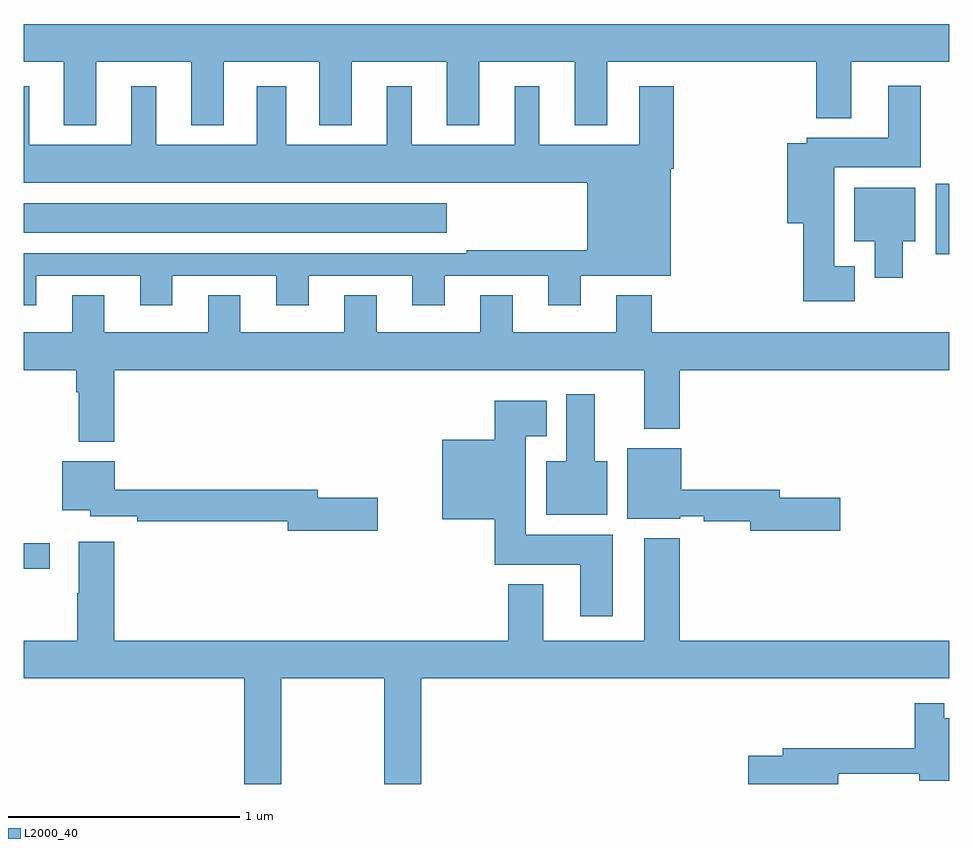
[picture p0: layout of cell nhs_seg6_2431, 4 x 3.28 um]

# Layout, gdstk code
import gdstk
lib = gdstk.Library(unit=1e-6, precision=1e-09)
def R(c, l, rs):  # rectangles x0, y0, x1, y1
    for r in rs: c.add(gdstk.rectangle(r[:2], r[2:], *l))
def P(c, l, *ps):  # polygons
    for p in ps: c.add(gdstk.Polygon(p, *l))
L2000_40 = (2000, 40)

nhs_seg6_2431 = lib.new_cell('nhs_seg6_2431')
R(nhs_seg6_2431, L2000_40, [(255,994.431,255.112,994.541), (258.941,995.789,259,996.094), (255,995.882,256.828,996.01)])
P(nhs_seg6_2431, L2000_40, [(255.313,996.62),(255.725,996.62),(255.725,996.347),(255.865,996.347),(255.865,996.62),(256.277,996.62),(256.277,996.347),(256.417,996.347),(256.417,996.62),(256.829,996.62),(256.829,996.347),(256.969,996.347),(256.969,996.62),(257.381,996.62),(257.381,996.347),(257.521,996.347),(257.521,996.62),(258.425,996.62),(258.425,996.377),(258.577,996.377),(258.577,996.62),(259,996.62),(259,996.784),(255,996.784),(255,996.62),(255.173,996.62),(255.173,996.347),(255.313,996.347)],
  [(258.592,995.737),(258.502,995.737),(258.502,996.164),(258.877,996.164),(258.877,996.517),(258.737,996.517),(258.737,996.292),(258.384,996.292),(258.384,996.268),(258.299,996.268),(258.299,995.924),(258.368,995.924),(258.368,995.585),(258.592,995.585)],
  [(255.055,995.697),(255.503,995.697),(255.503,995.568),(255.643,995.568),(255.643,995.697),(256.091,995.697),(256.091,995.568),(256.231,995.568),(256.231,995.697),(256.679,995.697),(256.679,995.568),(256.819,995.568),(256.819,995.697),(257.267,995.697),(257.267,995.568),(257.407,995.568),(257.407,995.696),(257.797,995.696),(257.797,996.158),(257.81,996.158),(257.81,996.514),(257.66,996.514),(257.66,996.262),(257.227,996.262),(257.227,996.514),(257.123,996.514),(257.123,996.262),(256.678,996.262),(256.678,996.514),(256.568,996.514),(256.568,996.262),(256.135,996.262),(256.135,996.514),(256.007,996.514),(256.007,996.262),(255.574,996.262),(255.574,996.514),(255.464,996.514),(255.464,996.262),(255.025,996.262),(255.025,996.514),(255,996.514),(255,996.098),(257.435,996.098),(257.435,995.806),(256.915,995.806),(256.915,995.793),(255,995.793),(255,995.568),(255.055,995.568)],
  [(258.799,995.846),(258.853,995.846),(258.853,996.076),(258.59,996.076),(258.59,995.846),(258.677,995.846),(258.677,995.688),(258.799,995.688)],
  [(255.392,995.288),(257.681,995.288),(257.681,995.036),(257.834,995.036),(257.834,995.288),(259,995.288),(259,995.452),(257.714,995.452),(257.714,995.611),(257.561,995.611),(257.561,995.452),(257.113,995.452),(257.113,995.612),(256.973,995.612),(256.973,995.452),(256.525,995.452),(256.525,995.612),(256.385,995.612),(256.385,995.452),(255.937,995.452),(255.937,995.612),(255.797,995.612),(255.797,995.452),(255.349,995.452),(255.349,995.612),(255.209,995.612),(255.209,995.452),(255,995.452),(255,995.288),(255.227,995.288),(255.227,995.192),(255.239,995.192),(255.239,994.979),(255.392,994.979)],
  [(257.521,994.894),(257.467,994.894),(257.467,995.185),(257.345,995.185),(257.345,994.894),(257.258,994.894),(257.258,994.664),(257.521,994.664)],
  [(257.545,994.576),(257.17,994.576),(257.17,995.003),(257.26,995.003),(257.26,995.155),(257.036,995.155),(257.036,994.987),(256.808,994.987),(256.808,994.643),(257.036,994.643),(257.036,994.448),(257.405,994.448),(257.405,994.224),(257.545,994.224)],
  [(258.529,994.736),(258.268,994.736),(258.268,994.772),(257.842,994.772),(257.842,994.951),(257.609,994.951),(257.609,994.646),(257.838,994.646),(257.838,994.656),(257.938,994.656),(257.938,994.636),(258.14,994.636),(258.14,994.594),(258.529,994.594)],
  [(256.531,994.736),(256.27,994.736),(256.27,994.772),(255.394,994.772),(255.394,994.894),(255.167,994.894),(255.167,994.682),(255.288,994.682),(255.288,994.656),(255.49,994.656),(255.49,994.636),(256.142,994.636),(256.142,994.594),(256.531,994.594)],
  [(256.113,993.956),(256.558,993.956),(256.558,993.5),(256.718,993.5),(256.718,993.956),(259,993.956),(259,994.12),(257.834,994.12),(257.834,994.561),(257.681,994.561),(257.681,994.12),(257.245,994.12),(257.245,994.363),(257.093,994.363),(257.093,994.12),(255.392,994.12),(255.392,994.546),(255.239,994.546),(255.239,994.325),(255.232,994.325),(255.232,994.12),(255,994.12),(255,993.956),(255.953,993.956),(255.953,993.5),(256.113,993.5)],
  [(258.52,993.545),(258.869,993.545),(258.869,993.515),(259,993.515),(259,993.784),(258.979,993.784),(258.979,993.85),(258.85,993.85),(258.85,993.655),(258.281,993.655),(258.281,993.621),(258.132,993.621),(258.132,993.5),(258.52,993.5)])

lib.write_gds('nhs_seg6_2431.gds')
